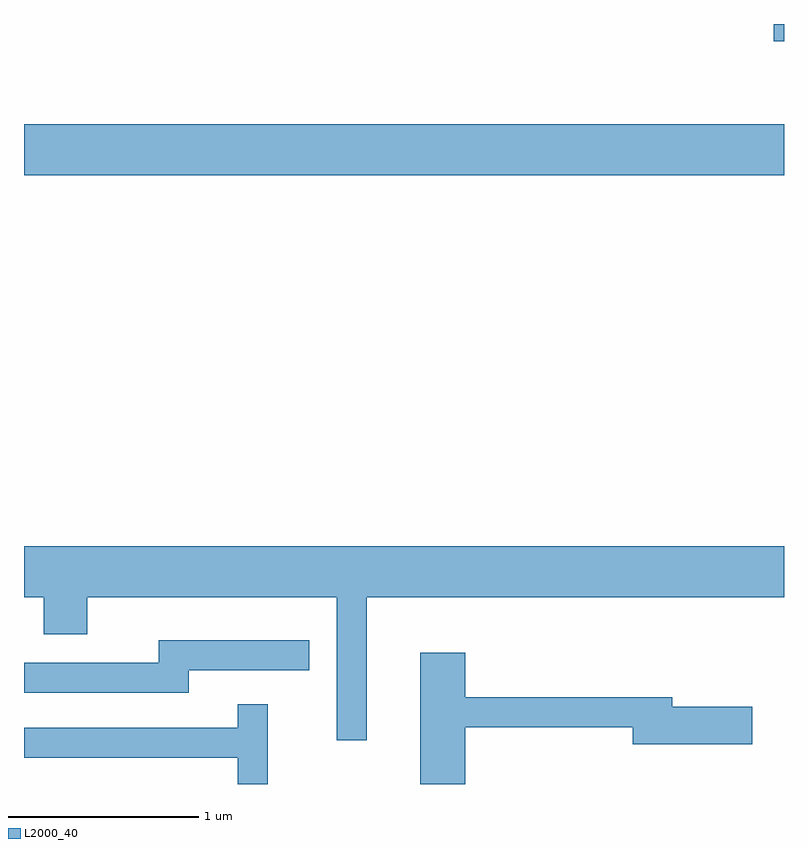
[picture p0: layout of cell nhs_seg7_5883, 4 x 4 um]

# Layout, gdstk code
import gdstk
lib = gdstk.Library(unit=1e-6, precision=1e-09)
def R(c, l, rs):  # rectangles x0, y0, x1, y1
    for r in rs: c.add(gdstk.rectangle(r[:2], r[2:], *l))
def P(c, l, *ps):  # polygons
    for p in ps: c.add(gdstk.Polygon(p, *l))
L2000_40 = (2000, 40)

nhs_seg7_5883 = lib.new_cell('nhs_seg7_5883')
R(nhs_seg7_5883, L2000_40, [(365.611,1685.456,369.611,1685.724), (369.556,1686.161,369.611,1686.252)])
P(nhs_seg7_5883, L2000_40, [(367.414,1683.236),(369.611,1683.236),(369.611,1683.504),(365.611,1683.504),(365.611,1683.236),(365.716,1683.236),(365.716,1683.041),(365.944,1683.041),(365.944,1683.236),(367.256,1683.236),(367.256,1682.483),(367.414,1682.483)],
  [(366.479,1682.851),(367.113,1682.851),(367.113,1683.009),(366.321,1683.009),(366.321,1682.889),(365.611,1682.889),(365.611,1682.731),(366.479,1682.731)],
  [(367.934,1682.551),(368.816,1682.551),(368.816,1682.461),(369.444,1682.461),(369.444,1682.659),(369.024,1682.659),(369.024,1682.709),(367.934,1682.709),(367.934,1682.944),(367.696,1682.944),(367.696,1682.252),(367.934,1682.252)],
  [(366.894,1682.673),(366.736,1682.673),(366.736,1682.549),(365.611,1682.549),(365.611,1682.391),(366.736,1682.391),(366.736,1682.252),(366.894,1682.252)])

lib.write_gds('nhs_seg7_5883.gds')
